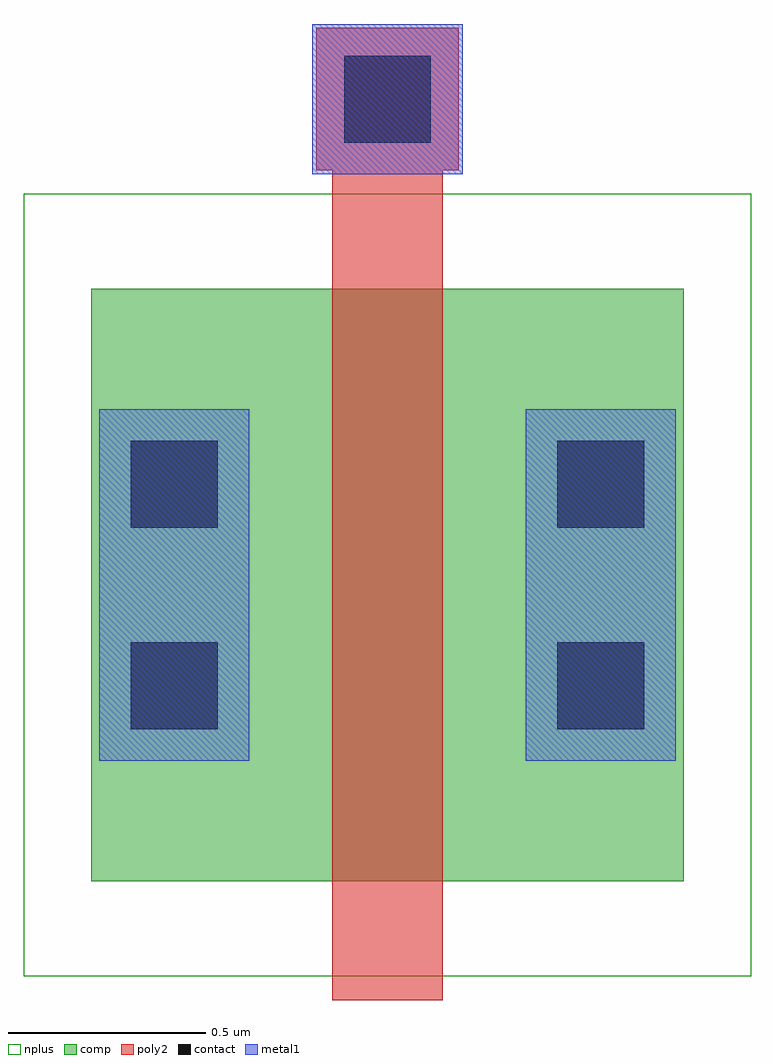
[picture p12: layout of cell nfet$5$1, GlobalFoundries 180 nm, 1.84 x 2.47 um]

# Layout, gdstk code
import gdstk
lib = gdstk.Library(unit=1e-6, precision=5e-09)
def R(c, l, rs):  # rectangles x0, y0, x1, y1
    for r in rs: c.add(gdstk.rectangle(r[:2], r[2:], *l))
def P(c, l, *ps):  # polygons
    for p in ps: c.add(gdstk.Polygon(p, *l))
comp = (22, 0)
poly2 = (30, 0)
nplus = (32, 0)
contact = (33, 0)
metal1 = (34, 0)

nfet_5_1 = lib.new_cell('nfet$5$1')
R(nfet_5_1, comp, [(-0.42,0,1.08,1.5)])
P(nfet_5_1, poly2, [(0.19,-0.3),(0.19,1.8),(0.15,1.8),(0.15,2.16),(0.51,2.16),(0.51,1.8),(0.47,1.8),(0.47,-0.3)])
R(nfet_5_1, nplus, [(-0.59,-0.24,1.25,1.74)])
R(nfet_5_1, contact, [(-0.32,0.385,-0.1,0.605), (0.76,0.385,0.98,0.605), (-0.32,0.895,-0.1,1.115), (0.76,0.895,0.98,1.115), (0.22,1.87,0.44,2.09)])
R(nfet_5_1, metal1, [(-0.4,0.305,-0.02,1.195), (0.68,0.305,1.06,1.195), (0.14,1.79,0.52,2.17)])

lib.write_gds('nfet_5_1.gds')
